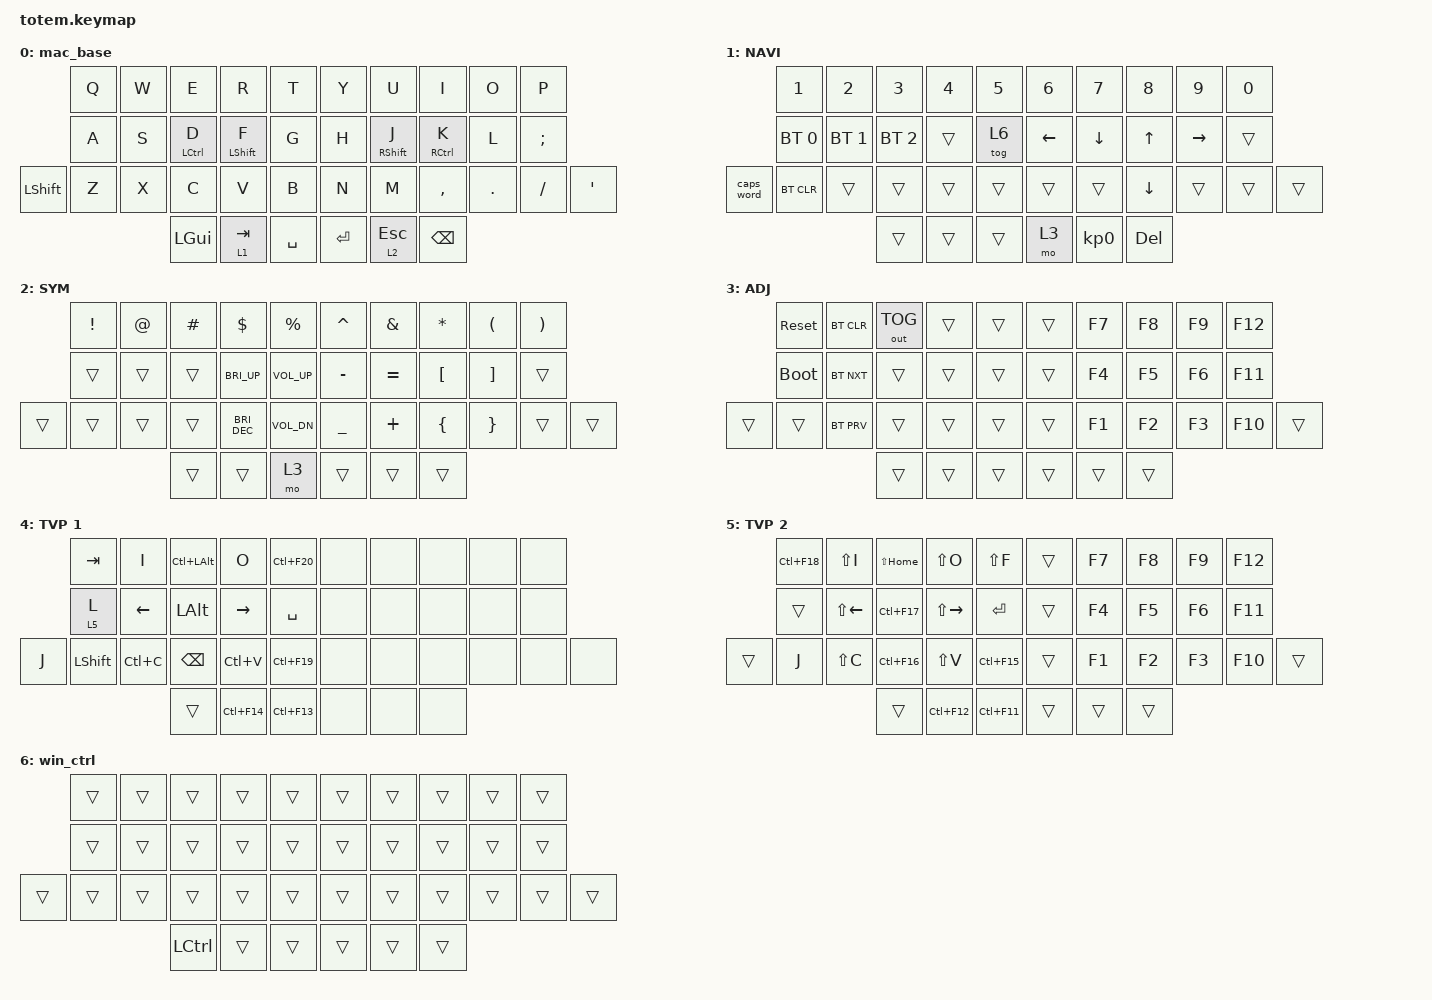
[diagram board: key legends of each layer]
//
//                                                        ▀▀▀▀▀     ▀▀▀▀▀          ▀▀█▀▀
//                                                        ▄▀▀▀▄  ▄  ▄▀▀▀▄  ▄  ▄▀▀▀▄  █  ▄▀▀▀▄
//                                                        █   █  █  █   █  █  █   █  █  █   █
//                                                         ▀▀▀   █   ▀▀▀   █   ▀▀▀   ▀   ▀▀▀
//                                                               █      ▄▄▄█▄▄▄    █   █  
//                                                               ▀      █  █  █     █▄█
//                                                             ▀▀▀▀▀    █  █  █      ▀
//                                                                      ▀  ▀  ▀
//
// ▄▄▄▄▄▄▄▄▄▄▄▄▄▄▄▄▄▄▄▄▄▄▄▄▄▄▄▄▄▄▄▄▄▄▄▄▄▄▄▄▄▄▄▄▄▄▄▄▄▄▄▄▄▄▄▄▄▄▄▄▄▄▄▄▄▄▄▄▄▄▄▄▄▄▄▄▄▄▄▄▄▄▄▄▄▄▄▄▄▄▄▄▄▄▄▄▄▄▄▄▄▄▄▄▄▄▄▄▄▄▄▄▄▄▄▄▄▄▄▄▄▄▄▄▄▄▄▄▄▄▄▄▄▄▄▄▄▄▄▄▄▄▄▄▄▄▄▄▄

#include <behaviors.dtsi>
#include <dt-bindings/zmk/bt.h>
#include <dt-bindings/zmk/keys.h>
#include <dt-bindings/zmk/outputs.h>

#define BASE 0
#define NAV  1
#define SYM  2
#define ADJ  3
#define TVP1 4
#define TVP2 5

&mt {
    quick-tap-ms = <100>;
    global-quick-tap;
    flavor = "tap-preferred";
    tapping-term-ms = <170>;
};

/ {
    behaviors {
        hrm_pinky: home_row_mod_pinky {
            compatible = "zmk,behavior-hold-tap";
            #binding-cells = <2>;
            tapping-term-ms = <175>;
            quick-tap-ms = <150>;
            require-prior-idle-ms = <125>;
            flavor = "tap-preferred";
            bindings = <&kp>, <&kp>;
        };

        hrm_middle: home_row_mod_middle {
            compatible = "zmk,behavior-hold-tap";
            #binding-cells = <2>;
            tapping-term-ms = <175>;
            quick-tap-ms = <150>;
            require-prior-idle-ms = <125>;
            flavor = "tap-preferred";
            bindings = <&kp>, <&kp>;
        };

        hrm_index: home_row_mod_index {
            compatible = "zmk,behavior-hold-tap";
            #binding-cells = <2>;
            tapping-term-ms = <175>;
            quick-tap-ms = <150>;
            require-prior-idle-ms = <125>;
            flavor = "tap-preferred";
            bindings = <&kp>, <&kp>;
        };
    };

    combos {
        compatible = "zmk,combos";

        combo_jk_escape {
            timeout-ms = <50>;
            key-positions = <16 17>;
            bindings = <&kp ESC>;
        };

        combo_df_capsword {
            timeout-ms = <50>;
            key-positions = <12 13>;
            bindings = <&caps_word>;
        };

        combo_sd_enter {
            timeout-ms = <50>;
            key-positions = <13 14>;
            bindings = <&kp RET>;
        };

        combo_m_comma_backspace {
            timeout-ms = <50>;
            key-positions = <3 4>;
            bindings = <&kp BSPC>;
        };

        combo_qw_tab {
            timeout-ms = <50>;
            key-positions = <0 1>;
            bindings = <&pw>;
        };

        combo_vb_delete {
            timeout-ms = <50>;
            key-positions = <24 25>;
            bindings = <&kp DEL>;
        };

        change_language {
            bindings = <&change_language>;
            key-positions = <5 6>;
        };
    };

    macros {
        pw: pw {
            compatible = "zmk,behavior-macro";
            #binding-cells = <0>;
            bindings = <&kp N1 &kp Q &kp N2 &kp W &kp RET>;
            label = "PW";
        };

        change_language: change_language {
            compatible = "zmk,behavior-macro";
            #binding-cells = <0>;
            bindings = <&kp LC(LEFT_SHIFT)>;
            label = "CHANGE_LANGUAGE";
        };
    };

    keymap {
        compatible = "zmk,keymap";

        // ▄▄▄▄▄▄▄▄▄▄▄▄▄▄▄▄▄▄▄▄▄▄▄▄▄▄▄▄▄▄▄▄▄▄▄▄▄▄▄▄▄▄▄▄▄▄▄▄▄▄▄▄▄▄▄▄▄▄▄▄▄▄▄▄▄▄▄▄▄▄▄▄▄▄▄▄▄▄▄▄▄▄▄▄▄▄▄▄▄▄▄▄▄▄▄▄▄▄▄▄▄▄▄▄▄▄▄▄▄▄▄▄▄▄▄▄▄▄▄▄▄▄▄▄▄▄▄▄▄▄▄▄▄▄▄▄▄▄▄▄▄▄▄▄▄▄▄▄▄
        // ▄▄▄▄▄▄▄▄▄▄▄▄▄▄▄▄▄▄▄▄▄▄▄▄▄▄▄▄▄▄▄▄▄▄▄▄▄▄▄▄▄▄▄▄▄▄▄▄▄▄▄▄▄▄▄▄▄▄▄▄▄▄▄▄▄▄▄▄▄▄▄▄▄▄▄▄▄▄▄▄▄▄▄▄▄▄▄▄▄▄▄▄▄▄▄▄▄▄▄▄▄▄▄▄▄▄▄▄▄▄▄▄▄▄▄▄▄▄▄▄▄▄▄▄▄▄▄▄▄▄▄▄▄▄▄▄▄▄▄▄▄▄▄▄▄▄▄▄▄

        mac_base {
            bindings = <
            &kp Q  &kp W  &kp E                &kp R                &kp T        &kp Y      &kp U                &kp I                &kp O    &kp P
            &kp A  &kp S  &hrm_middle LCTRL D  &hrm_index LSHIFT F  &kp G        &kp H      &hrm_index RSHIFT J  &hrm_middle RCTRL K  &kp L    &kp SEMI
&kp LSHIFT  &kp Z  &kp X  &kp C                &kp V                &kp B        &kp N      &kp M                &kp COMMA            &kp DOT  &kp FSLH  &kp SQT
                          &kp LGUI             &lt 1 TAB            &kp SPACE    &kp ENTER  &lt 2 ESCAPE         &kp BACKSPACE
            >;
        };

        nav_layer {
            // ┏━━━━━━━━━━━━━━━━━━━━━━━━━━━━━━━━━━━━━━━┓

            label = "NAVI";

            // ┗━━━━━━━━━━━━━━━━━━━━━━━━━━━━━━━━━━━━━━━┛
            //             ┏━━━━━━━━━━━┳━━━━━━━━━━━┳━━━━━━━━━━━┳━━━━━━━━━━━┳━━━━━━━━━━━┓   ┏━━━━━━━━━━━┳━━━━━━━━━━━┳━━━━━━━━━━━┳━━━━━━━━━━━┳━━━━━━━━━━━┓
            //             ┃           ┃           ┃     UP    ┃           ┃     {     ┃   ┃     }     ┃     7     ┃     8     ┃     9     ┃     +     ┃
            //             ┣━━━━━━━━━━━╋━━━━━━━━━━━╋━━━━━━━━━━━╋━━━━━━━━━━━╋━━━━━━━━━━━┫   ┣━━━━━━━━━━━╋━━━━━━━━━━━╋━━━━━━━━━━━╋━━━━━━━━━━━╋━━━━━━━━━━━┫
            //             ┃   SHIFT   ┃   LEFT    ┃    DOWN   ┃   RIGHT   ┃     [     ┃   ┃     ]     ┃     4     ┃     5     ┃     6     ┃     -     ┃
            // ┏━━━━━━━━━━━╋━━━━━━━━━━━╋━━━━━━━━━━━╋━━━━━━━━━━━╋━━━━━━━━━━━╋━━━━━━━━━━━┫   ┣━━━━━━━━━━━╋━━━━━━━━━━━╋━━━━━━━━━━━╋━━━━━━━━━━━╋━━━━━━━━━━━╋━━━━━━━━━━━┓
            // ┃           ┃           ┃   P UP    ┃  C LOCK   ┃  P DOWN   ┃     (     ┃   ┃     )     ┃     1     ┃     2     ┃     3     ┃     *     ┃           ┃
            // ┗━━━━━━━━━━━┻━━━━━━━━━━━┻━━━━━━━━━━━╋━━━━━━━━━━━╋━━━━━━━━━━━╋━━━━━━━━━━━┫   ┣━━━━━━━━━━━╋━━━━━━━━━━━╋━━━━━━━━━━━╋━━━━━━━━━━━┻━━━━━━━━━━━┻━━━━━━━━━━━┛
            //                                     ┃           ┃    TAB    ┃    SPC    ┃   ┃    DEL    ┃     0     ┃           ┃
            //                                     ┗━━━━━━━━━━━┻━━━━━━━━━━━┻━━━━━━━━━━━┛   ┗━━━━━━━━━━━┻━━━━━━━━━━━┻━━━━━━━━━━━┛

            bindings = <
            &kp NUMBER_1  &kp NUMBER_2  &kp NUMBER_3  &kp NUMBER_4  &kp N5    &kp NUMBER_6  &kp N7     &kp NUMBER_8    &kp NUMBER_9  &kp N0
            &bt BT_SEL 0  &bt BT_SEL 1  &bt BT_SEL 2  &trans        &tog 6    &kp LEFT      &kp DOWN   &kp UP_ARROW    &kp RIGHT     &trans
&caps_word  &bt BT_CLR    &trans        &trans        &trans        &trans    &trans        &trans     &kp DOWN_ARROW  &trans        &trans  &trans
                                        &trans        &trans        &trans    &mo 3         &kp KP_N0  &kp DEL
            >;
        };

        sim_layer {
            // ┏━━━━━━━━━━━━━━━━━━━━━━━━━━━━━━━━━━━━━━━┓

            label = "SYM";

            // ┗━━━━━━━━━━━━━━━━━━━━━━━━━━━━━━━━━━━━━━━┛
            //             ┏━━━━━━━━━━━┳━━━━━━━━━━━┳━━━━━━━━━━━┳━━━━━━━━━━━┳━━━━━━━━━━━┓   ┏━━━━━━━━━━━┳━━━━━━━━━━━┳━━━━━━━━━━━┳━━━━━━━━━━━┳━━━━━━━━━━━┓
            //             ┃     !     ┃     @     ┃     #     ┃     $     ┃     %     ┃   ┃     ˆ     ┃     &     ┃     Ü     ┃     '     ┃     "     ┃
            //             ┣━━━━━━━━━━━╋━━━━━━━━━━━╋━━━━━━━━━━━╋━━━━━━━━━━━╋━━━━━━━━━━━┫   ┣━━━━━━━━━━━╋━━━━━━━━━━━╋━━━━━━━━━━━╋━━━━━━━━━━━╋━━━━━━━━━━━┫
            //             ┃     Ä     ┃           ┃    SZ     ┃           ┃           ┃   ┃   MUTE    ┃   YEN     ┃   EURO    ┃  POUND    ┃     Ö     ┃
            // ┏━━━━━━━━━━━╋━━━━━━━━━━━╋━━━━━━━━━━━╋━━━━━━━━━━━╋━━━━━━━━━━━╋━━━━━━━━━━━┫   ┣━━━━━━━━━━━╋━━━━━━━━━━━╋━━━━━━━━━━━╋━━━━━━━━━━━╋━━━━━━━━━━━╋━━━━━━━━━━━┓
            // ┃           ┃  EMAIL1   ┃  EMAIL2   ┃           ┃           ┃           ┃   ┃   VOL-    ┃   VOL+    ┃   LAST    ┃   NEXT    ┃     \     ┃           ┃
            // ┗━━━━━━━━━━━┻━━━━━━━━━━━┻━━━━━━━━━━━╋━━━━━━━━━━━╋━━━━━━━━━━━╋━━━━━━━━━━━┫   ┣━━━━━━━━━━━╋━━━━━━━━━━━╋━━━━━━━━━━━╋━━━━━━━━━━━┻━━━━━━━━━━━┻━━━━━━━━━━━┛
            //                                     ┃           ┃    GIF    ┃    ADJ    ┃   ┃           ┃           ┃           ┃
            //                                     ┗━━━━━━━━━━━┻━━━━━━━━━━━┻━━━━━━━━━━━┛   ┗━━━━━━━━━━━┻━━━━━━━━━━━┻━━━━━━━━━━━┛

            bindings = <
        &kp EXCL  &kp AT  &kp HASH  &kp DLLR       &kp PRCNT          &kp CARET       &kp AMPS   &kp ASTERISK      &kp LEFT_PARENTHESIS  &kp RIGHT_PARENTHESIS
        &trans    &trans  &trans    &kp C_BRI_UP   &kp C_VOLUME_UP    &kp MINUS       &kp EQUAL  &kp LEFT_BRACKET  &kp RIGHT_BRACKET     &trans
&trans  &trans    &trans  &trans    &kp C_BRI_DEC  &kp C_VOL_DN       &kp UNDERSCORE  &kp PLUS   &kp LEFT_BRACE    &kp RIGHT_BRACE       &trans                 &trans
                          &trans    &trans         &mo 3              &trans          &trans     &trans
            >;
        };

        adjust_layer {
            // ┏━━━━━━━━━━━━━━━━━━━━━━━━━━━━━━━━━━━━━━━┓

            label = "ADJ";

            // ┗━━━━━━━━━━━━━━━━━━━━━━━━━━━━━━━━━━━━━━━┛
            //             ┏━━━━━━━━━━━┳━━━━━━━━━━━┳━━━━━━━━━━━┳━━━━━━━━━━━┳━━━━━━━━━━━┓   ┏━━━━━━━━━━━┳━━━━━━━━━━━┳━━━━━━━━━━━┳━━━━━━━━━━━┳━━━━━━━━━━━┓
            //             ┃   RESET   ┃ BT CLEAR  ┃  OUT TOG  ┃           ┃           ┃   ┃           ┃    F7     ┃    F8     ┃    F9     ┃    F12    ┃
            //             ┣━━━━━━━━━━━╋━━━━━━━━━━━╋━━━━━━━━━━━╋━━━━━━━━━━━╋━━━━━━━━━━━┫   ┣━━━━━━━━━━━╋━━━━━━━━━━━╋━━━━━━━━━━━╋━━━━━━━━━━━╋━━━━━━━━━━━┫
            //             ┃ BOOTLOAD  ┃ BT NEXT   ┃           ┃           ┃           ┃   ┃           ┃    F4     ┃    F5     ┃    F6     ┃    F11    ┃
            // ┏━━━━━━━━━━━╋━━━━━━━━━━━╋━━━━━━━━━━━╋━━━━━━━━━━━╋━━━━━━━━━━━╋━━━━━━━━━━━┫   ┣━━━━━━━━━━━╋━━━━━━━━━━━╋━━━━━━━━━━━╋━━━━━━━━━━━╋━━━━━━━━━━━╋━━━━━━━━━━━┓
            // ┃           ┃           ┃ BT PREV   ┃           ┃           ┃           ┃   ┃           ┃    F1     ┃    F2     ┃    F3     ┃    F10    ┃           ┃
            // ┗━━━━━━━━━━━┻━━━━━━━━━━━┻━━━━━━━━━━━╋━━━━━━━━━━━╋━━━━━━━━━━━╋━━━━━━━━━━━┫   ┣━━━━━━━━━━━╋━━━━━━━━━━━╋━━━━━━━━━━━╋━━━━━━━━━━━┻━━━━━━━━━━━┻━━━━━━━━━━━┛
            //                                     ┃           ┃           ┃           ┃   ┃           ┃           ┃           ┃
            //                                     ┗━━━━━━━━━━━┻━━━━━━━━━━━┻━━━━━━━━━━━┛   ┗━━━━━━━━━━━┻━━━━━━━━━━━┻━━━━━━━━━━━┛

            bindings = <
        &sys_reset   &bt BT_CLR  &out OUT_TOG  &trans  &trans    &trans  &kp F7  &kp F8  &kp F9  &kp F12
        &bootloader  &bt BT_NXT  &trans        &trans  &trans    &trans  &kp F4  &kp F5  &kp F6  &kp F11
&trans  &trans       &bt BT_PRV  &trans        &trans  &trans    &trans  &kp F1  &kp F2  &kp F3  &kp F10  &trans
                                 &trans        &trans  &trans    &trans  &trans  &trans
            >;
        };

        tvp1_layer {
            // ┏━━━━━━━━━━━━━━━━━━━━━━━━━━━━━━━━━━━━━━━┓

            label = "TVP 1";

            // ┗━━━━━━━━━━━━━━━━━━━━━━━━━━━━━━━━━━━━━━━┛
            //             ┏━━━━━━━━━━━┳━━━━━━━━━━━┳━━━━━━━━━━━┳━━━━━━━━━━━┳━━━━━━━━━━━┓   ┏━━━━━━━━━━━┳━━━━━━━━━━━┳━━━━━━━━━━━┳━━━━━━━━━━━┳━━━━━━━━━━━┓
            //             ┃ NEXT FILE ┃ MARK IN   ┃ ROTATE    ┃ MARK OUT  ┃ SHOW SNAP ┃   ┃           ┃           ┃           ┃           ┃           ┃
            //             ┣━━━━━━━━━━━╋━━━━━━━━━━━╋━━━━━━━━━━━╋━━━━━━━━━━━╋━━━━━━━━━━━┫   ┣━━━━━━━━━━━╋━━━━━━━━━━━╋━━━━━━━━━━━╋━━━━━━━━━━━╋━━━━━━━━━━━┫
            //             ┃ TVP II    ┃ LEFT      ┃ PAN       ┃ RIGHT     ┃ PLAY/FLIP ┃   ┃           ┃           ┃           ┃           ┃           ┃
            // ┏━━━━━━━━━━━╋━━━━━━━━━━━╋━━━━━━━━━━━╋━━━━━━━━━━━╋━━━━━━━━━━━╋━━━━━━━━━━━┫   ┣━━━━━━━━━━━╋━━━━━━━━━━━╋━━━━━━━━━━━╋━━━━━━━━━━━╋━━━━━━━━━━━╋━━━━━━━━━━━┓
            // ┃ FULLSCR   ┃ SHIFT     ┃ COPY      ┃ DELETE    ┃ PASTE     ┃ IMG MARK  ┃   ┃           ┃           ┃           ┃           ┃           ┃           ┃
            // ┗━━━━━━━━━━━┻━━━━━━━━━━━┻━━━━━━━━━━━╋━━━━━━━━━━━╋━━━━━━━━━━━╋━━━━━━━━━━━┫   ┣━━━━━━━━━━━╋━━━━━━━━━━━╋━━━━━━━━━━━╋━━━━━━━━━━━┻━━━━━━━━━━━┻━━━━━━━━━━━┛
            //                                     ┃           ┃ UNDO/SAVE ┃  SEL/MOV  ┃   ┃           ┃           ┃           ┃
            //                                     ┗━━━━━━━━━━━┻━━━━━━━━━━━┻━━━━━━━━━━━┛   ┗━━━━━━━━━━━┻━━━━━━━━━━━┻━━━━━━━━━━━┛

            bindings = <
       &kp TAB    &kp I      &kp LC(LALT)  &kp O        &kp LC(F20)    &none  &none  &none  &none  &none
       &lt 5 L    &kp LEFT   &kp LALT      &kp RIGHT    &kp SPACE      &none  &none  &none  &none  &none
&kp J  &kp LSHFT  &kp LC(C)  &kp BSPC      &kp LC(V)    &kp LC(F19)    &none  &none  &none  &none  &none  &none
                             &trans        &kp LC(F14)  &kp LC(F13)    &none  &none  &none
            >;
        };

        tvp2_layer {
            // ┏━━━━━━━━━━━━━━━━━━━━━━━━━━━━━━━━━━━━━━━┓

            label = "TVP 2";

            // ┗━━━━━━━━━━━━━━━━━━━━━━━━━━━━━━━━━━━━━━━┛
            //             ┏━━━━━━━━━━━┳━━━━━━━━━━━┳━━━━━━━━━━━┳━━━━━━━━━━━┳━━━━━━━━━━━┓   ┏━━━━━━━━━━━┳━━━━━━━━━━━┳━━━━━━━━━━━┳━━━━━━━━━━━┳━━━━━━━━━━━┓
            //             ┃ SOLO      ┃ TOGGLE IN ┃ RESET ROT ┃ TOGGLE OUT┃ TAKE SNAP ┃   ┃           ┃           ┃           ┃           ┃           ┃
            //             ┣━━━━━━━━━━━╋━━━━━━━━━━━╋━━━━━━━━━━━╋━━━━━━━━━━━╋━━━━━━━━━━━┫   ┣━━━━━━━━━━━╋━━━━━━━━━━━╋━━━━━━━━━━━╋━━━━━━━━━━━╋━━━━━━━━━━━┫
            //             ┃ ---       ┃ LAST KEY  ┃ NEW KEY   ┃ NEXT KEY  ┃ ENTER     ┃   ┃           ┃           ┃           ┃           ┃           ┃
            // ┏━━━━━━━━━━━╋━━━━━━━━━━━╋━━━━━━━━━━━╋━━━━━━━━━━━╋━━━━━━━━━━━╋━━━━━━━━━━━┫   ┣━━━━━━━━━━━╋━━━━━━━━━━━╋━━━━━━━━━━━╋━━━━━━━━━━━╋━━━━━━━━━━━╋━━━━━━━━━━━┓
            // ┃           ┃ FULLSCR   ┃ CPY2BRUSH ┃ DEL HEAD  ┃ PSTinPLACE┃ BOOK MARK ┃   ┃           ┃           ┃           ┃           ┃           ┃           ┃
            // ┗━━━━━━━━━━━┻━━━━━━━━━━━┻━━━━━━━━━━━╋━━━━━━━━━━━╋━━━━━━━━━━━╋━━━━━━━━━━━┫   ┣━━━━━━━━━━━╋━━━━━━━━━━━╋━━━━━━━━━━━╋━━━━━━━━━━━┻━━━━━━━━━━━┻━━━━━━━━━━━┛
            //                                     ┃           ┃ REDO/SAV1 ┃TRANS/WARP ┃   ┃           ┃           ┃           ┃
            //                                     ┗━━━━━━━━━━━┻━━━━━━━━━━━┻━━━━━━━━━━━┛   ┗━━━━━━━━━━━┻━━━━━━━━━━━┻━━━━━━━━━━━┛

            bindings = <
        &kp LC(F18)  &kp LS(I)     &kp LS(HOME)  &kp LS(O)      &kp LS(F)      &trans  &kp F7  &kp F8  &kp F9  &kp F12
        &trans       &kp LS(LEFT)  &kp LC(F17)   &kp LS(RIGHT)  &kp RET        &trans  &kp F4  &kp F5  &kp F6  &kp F11
&trans  &kp J        &kp LS(C)     &kp LC(F16)   &kp LS(V)      &kp LC(F15)    &trans  &kp F1  &kp F2  &kp F3  &kp F10  &trans
                                   &trans        &kp LC(F12)    &kp LC(F11)    &trans  &trans  &trans
            >;
        };

        win_ctrl {
            bindings = <
        &trans  &trans  &trans     &trans  &trans    &trans  &trans  &trans  &trans  &trans
        &trans  &trans  &trans     &trans  &trans    &trans  &trans  &trans  &trans  &trans
&trans  &trans  &trans  &trans     &trans  &trans    &trans  &trans  &trans  &trans  &trans  &trans
                        &kp LCTRL  &trans  &trans    &trans  &trans  &trans
            >;
        };
    };
};
